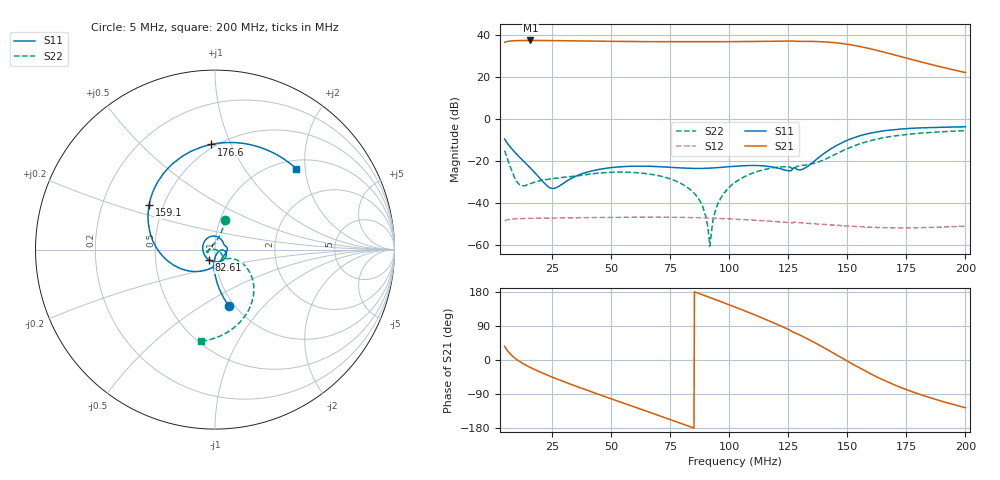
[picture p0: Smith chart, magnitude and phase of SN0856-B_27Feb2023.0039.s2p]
# Hz S DB R 50
! CMT, M5045, 22160017, 22.4.3/2
! Date: 2/27/2023 00:39:40
! Data: Format (Calibration Info)
! Freq	S11:dB/Ang(F2)	S21:dB/Ang(F2)	S12:dB/Ang(F2)	S22:dB/Ang(F2)
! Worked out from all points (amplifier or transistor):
!   1001 points, 5 MHz to 200 MHz, reference 50 ohm
!   highest |S21| = 37.2 dB at 15.92 MHz (marker M1)
!   |S21| within 3 dB of that: start of sweep to 155.9 MHz
!   unconditionally stable (mu >= 1): start of sweep to end of sweep
!   at 37.37 MHz: K = 1.76, MAG = 37.0 dB, |S12| = -47.2 dB
!   at 102.5 MHz: K = 1.94, MAG = 36.7 dB, |S12| = -47.9 dB
!   at 200 MHz: K = 6.58, MAG = 25.4 dB, |S12| = -51.1 dB
!   S11 on the Smith chart (normalised r, x): 5 MHz: 0.94, -0.67; 82.61 MHz: 0.93, -0.11; 159.1 MHz: 0.42, +0.26; 176.6 MHz: 0.47, +0.84; 200 MHz: 1.18, +1.80
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5000000  -9.72 -75.8  36.40 36.3  -48.57 40.1  -15.22 71.8
9095000  -15.72 -88.0  37.10 6.2  -47.68 9.2  -27.70 86.2
1.592e7  -23.52 -94.0  37.23 -19.8  -47.45 -16.9  -30.93 165.0
2.6255e7  -33.11 -34.1  37.15 -47.9  -47.33 -44.6  -28.44 -168.9
3.7565e7  -26.30 -4.2  36.98 -74.6  -47.23 -70.1  -26.91 -156.2
5.297e7  -22.97 -27.8  36.79 -108.8  -47.04 -101.0  -25.48 -156.9
7.013e7  -22.84 -73.2  36.66 -146.2  -46.84 -135.7  -27.16 -170.3
8.261e7  -23.61 -121.2  36.63 -173.9  -47.07 -160.5  -33.02 175.4
9.2555e7  -23.50 -167.7  36.64 163.3  -47.46 178.9  -53.53 14.9
1.025e8  -22.64 145.6  36.68 139.8  -47.86 157.4  -30.34 -26.4
1.1225e8  -22.32 102.3  36.77 115.5  -48.47 135.2  -25.06 -40.7
1.2083e8  -23.62 58.6  36.88 92.7  -49.13 112.9  -23.10 -49.8
1.2629e8  -24.67 22.1  36.99 76.7  -49.59 99.0  -23.38 -55.0
1.35065e8  -21.13 -87.6  36.79 49.7  -50.02 69.2  -21.51 -37.4
1.4111e8  -15.84 -130.9  36.50 29.1  -50.44 46.1  -19.08 -27.3
1.46375e8  -12.22 -159.0  35.99 10.3  -50.89 24.7  -16.16 -25.7
1.532e8  -8.92 169.7  34.83 -14.2  -51.32 -2.9  -12.83 -32.8
1.5905e8  -7.07 146.2  33.46 -33.8  -51.82 -25.8  -10.70 -42.5
1.6763e8  -5.49 116.9  31.05 -59.4  -52.04 -53.4  -8.63 -57.6
1.766e8  -4.64 92.1  28.37 -81.8  -51.94 -77.2  -7.34 -71.6
1.8674e8  -4.16 69.2  25.44 -102.9  -51.76 -96.9  -6.44 -84.8
2e8  -3.89 44.7  21.96 -125.9  -51.15 -117.2  -5.72 -98.8
